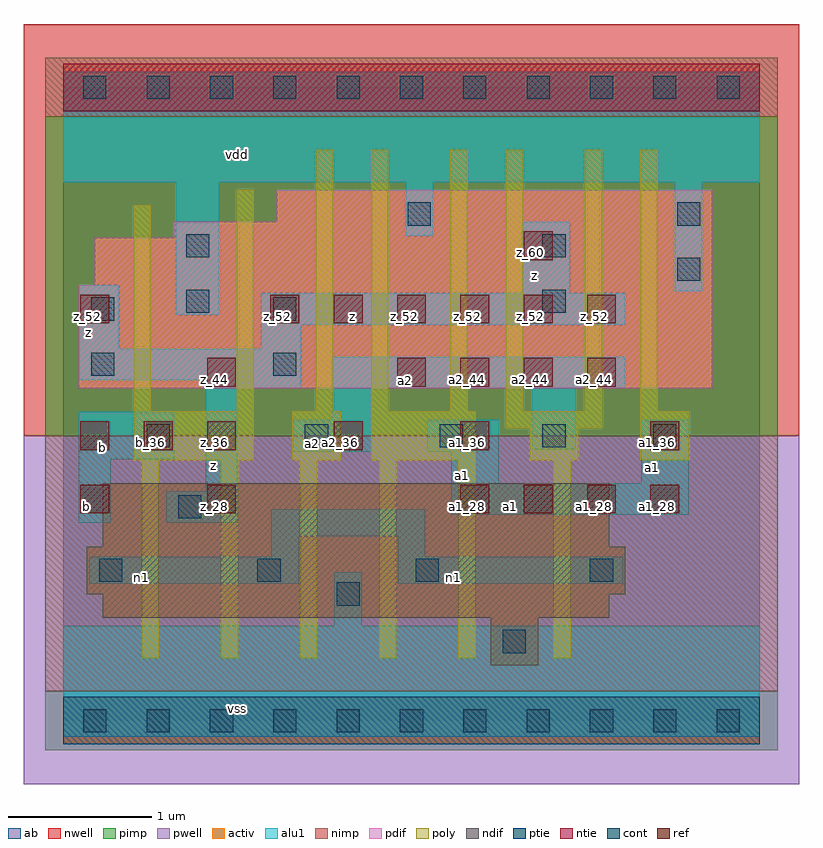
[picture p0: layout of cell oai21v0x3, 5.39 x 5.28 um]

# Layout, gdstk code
import gdstk
lib = gdstk.Library(unit=1e-6, precision=2.5e-09)
def R(c, l, rs):  # rectangles x0, y0, x1, y1
    for r in rs: c.add(gdstk.rectangle(r[:2], r[2:], *l))
def A(c, l, x, y, w, h, nx, ny, dx, dy):  # array of equal rectangles
    R(c, l, [(x+i*dx, y+j*dy, x+i*dx+w, y+j*dy+h) for i in range(nx) for j in range(ny)])
ndif = (3, 0)
pdif = (4, 0)
ntie = (5, 0)
ptie = (6, 0)
ref = (24, 0)
cont = (25, 0)
pwell = (41, 0)
nwell = (42, 0)
activ = (43, 0)
pimp = (44, 0)
nimp = (45, 0)
poly = (46, 0)
alu1 = (49, 0)
ab = (63, 0)

oai21v0x3 = lib.new_cell('oai21v0x3')
R(oai21v0x3, ndif, [(2.97,0.385,3.3,0.715), (0.275,0.715,3.795,0.88), (0.165,0.88,3.905,1.21), (0.275,1.21,3.795,1.65)])
R(oai21v0x3, pdif, [(0.11,2.31,4.51,3.025), (0.22,3.025,4.51,3.355), (0.77,3.355,4.51,3.465), (1.485,3.465,4.51,3.685)])
R(oai21v0x3, ntie, [(0,4.235,4.84,4.565)])
R(oai21v0x3, ptie, [(0,-0.165,4.84,0.165)])
A(oai21v0x3, ref, 2.76, 1.44, 0.2, 0.2, 4, 1, 0.44, 0)
A(oai21v0x3, ref, 0.12, 1.88, 0.2, 0.2, 3, 1, 0.44, 0)
A(oai21v0x3, ref, 2.32, 2.32, 0.2, 0.2, 4, 1, 0.44, 0)
A(oai21v0x3, ref, 1.44, 2.76, 0.2, 0.2, 6, 1, 0.44, 0)
R(oai21v0x3, ref, [(0.12,1.44,0.32,1.64), (1,1.44,1.2,1.64), (1.88,1.88,2.08,2.08), (2.76,1.88,2.96,2.08), (4.08,1.88,4.28,2.08), (1,2.32,1.2,2.52), (0.12,2.76,0.32,2.96), (3.2,3.2,3.4,3.4)])
A(oai21v0x3, cont, 0.14, -0.08, 0.16, 0.16, 11, 2, 0.44, 4.4)
A(oai21v0x3, cont, 0.25, 0.965, 0.16, 0.16, 3, 1, 1.1, 0)
R(oai21v0x3, cont, [(3.055,0.47,3.215,0.63), (1.9,0.8,2.06,0.96), (3.66,0.965,3.82,1.125), (0.8,1.405,0.96,1.565), (0.58,1.9,0.74,2.06), (1.68,1.9,1.84,2.06), (2.615,1.9,2.775,2.06), (3.33,1.9,3.49,2.06), (4.1,1.9,4.26,2.06), (0.195,2.395,0.355,2.555), (1.46,2.395,1.62,2.555), (0.195,2.78,0.355,2.94), (1.46,2.78,1.62,2.94), (0.855,2.835,1.015,2.995), (3.33,2.835,3.49,2.995), (4.265,3.055,4.425,3.215), (0.855,3.22,1.015,3.38), (3.33,3.22,3.49,3.38), (2.395,3.44,2.555,3.6), (4.265,3.44,4.425,3.6)])
R(oai21v0x3, pwell, [(-0.275,-0.44,5.115,1.98)])
R(oai21v0x3, nwell, [(-0.275,1.98,5.115,4.84)])
R(oai21v0x3, activ, [(0,-0.165,4.84,0.165), (2.97,0.385,3.3,0.715), (0.275,0.715,3.795,0.88), (0.165,0.88,3.905,1.21), (0.275,1.21,3.795,1.65), (0.11,2.31,4.51,3.025), (0.22,3.025,4.51,3.355), (0.77,3.355,4.51,3.465), (1.485,3.465,4.51,3.685), (0,4.235,4.84,4.565)])
R(oai21v0x3, pimp, [(-0.125,-0.205,4.965,0.205), (-0.125,1.98,4.965,4.195)])
R(oai21v0x3, nimp, [(-0.125,0.205,4.965,1.98), (-0.125,4.195,4.965,4.605)])
A(oai21v0x3, poly, 0.545, 0.435, 0.12, 1.375, 5, 1, 0.55, 0)
R(oai21v0x3, poly, [(3.405,0.435,3.525,1.81), (0.49,1.81,1.325,2.15), (1.59,1.81,1.93,2.15), (2.14,1.81,2.865,2.15), (3.24,1.81,3.58,2.03), (4.01,1.81,4.35,2.15), (3.075,2.03,3.745,2.15), (0.49,2.15,0.61,3.58), (1.205,2.15,1.325,3.69), (1.755,2.15,1.875,3.965), (2.14,2.15,2.26,3.965), (2.69,2.15,2.81,3.965), (3.075,2.15,3.195,3.965), (3.625,2.15,3.745,3.965), (4.01,2.15,4.13,3.965)])
R(oai21v0x3, alu1, [(0,-0.11,4.84,0.66), (1.885,0.66,2.075,1.03), (0.18,0.95,1.635,1.14), (2.325,0.95,3.89,1.14), (1.445,1.14,1.635,1.28), (2.325,1.14,2.515,1.28), (1.445,1.28,2.515,1.47), (0.11,1.375,0.33,1.815), (0.715,1.375,1.21,1.595), (2.695,1.43,4.345,1.65), (0.99,1.595,1.21,2.31), (2.695,1.65,3.025,1.87), (4.015,1.65,4.345,2.09), (0.11,1.815,0.77,2.145), (1.595,1.87,2.145,2.09), (2.53,1.87,3.025,2.09), (3.26,1.885,3.56,2.31), (1.87,2.09,2.145,2.31), (0.99,2.31,1.65,2.365), (1.87,2.31,3.905,2.53), (0.11,2.365,1.65,2.585), (0.11,2.585,0.385,3.025), (1.375,2.585,1.65,2.75), (1.375,2.75,3.905,2.97), (0.785,2.82,1.085,3.74), (3.19,2.97,3.52,3.465), (4.25,2.985,4.44,3.74), (2.38,3.37,2.57,3.74), (0,3.74,4.84,4.51)])
R(oai21v0x3, ab, [(0,0,4.84,4.4)])
oai21v0x3.add(gdstk.Label('vss', (1.21,0.0825), layer=49, texttype=0))
oai21v0x3.add(gdstk.Label('n1', (2.715,0.9975), layer=49, texttype=0))
oai21v0x3.add(gdstk.Label('n1', (0.5425,0.9975), layer=49, texttype=0))
oai21v0x3.add(gdstk.Label('a1', (3.1075,1.485), layer=49, texttype=0))
oai21v0x3.add(gdstk.Label('a1', (4.0975,1.76), layer=49, texttype=0))
oai21v0x3.add(gdstk.Label('a1', (2.7775,1.705), layer=49, texttype=0))
oai21v0x3.add(gdstk.Label('a2', (1.7325,1.925), layer=49, texttype=0))
oai21v0x3.add(gdstk.Label('z', (1.045,1.7725), layer=49, texttype=0))
oai21v0x3.add(gdstk.Label('b', (0.165,1.485), layer=49, texttype=0))
oai21v0x3.add(gdstk.Label('b', (0.275,1.8975), layer=49, texttype=0))
oai21v0x3.add(gdstk.Label('a2', (2.3775,2.365), layer=49, texttype=0))
oai21v0x3.add(gdstk.Label('z', (2.0075,2.805), layer=49, texttype=0))
oai21v0x3.add(gdstk.Label('z', (3.2725,3.0925), layer=49, texttype=0))
oai21v0x3.add(gdstk.Label('z', (0.1775,2.695), layer=49, texttype=0))
oai21v0x3.add(gdstk.Label('vdd', (1.21,3.9325), layer=49, texttype=0))
oai21v0x3.add(gdstk.Label('b_36', (0.61,1.93), layer=24, texttype=0))
oai21v0x3.add(gdstk.Label('z_28', (1.05,1.49), layer=24, texttype=0))
oai21v0x3.add(gdstk.Label('z_36', (1.05,1.93), layer=24, texttype=0))
oai21v0x3.add(gdstk.Label('z_44', (1.05,2.37), layer=24, texttype=0))
oai21v0x3.add(gdstk.Label('z_52', (1.49,2.81), layer=24, texttype=0))
oai21v0x3.add(gdstk.Label('a2_36', (1.93,1.93), layer=24, texttype=0))
oai21v0x3.add(gdstk.Label('z_52', (1.93,2.81), layer=24, texttype=0))
oai21v0x3.add(gdstk.Label('b_28', (0.17,1.49), layer=24, texttype=0))
oai21v0x3.add(gdstk.Label('b_36', (0.17,1.93), layer=24, texttype=0))
oai21v0x3.add(gdstk.Label('z_52', (0.17,2.81), layer=24, texttype=0))
oai21v0x3.add(gdstk.Label('a2_44', (2.37,2.37), layer=24, texttype=0))
oai21v0x3.add(gdstk.Label('z_52', (2.37,2.81), layer=24, texttype=0))
oai21v0x3.add(gdstk.Label('a1_28', (2.81,1.49), layer=24, texttype=0))
oai21v0x3.add(gdstk.Label('a1_36', (2.81,1.93), layer=24, texttype=0))
oai21v0x3.add(gdstk.Label('a2_44', (2.81,2.37), layer=24, texttype=0))
oai21v0x3.add(gdstk.Label('z_52', (2.81,2.81), layer=24, texttype=0))
oai21v0x3.add(gdstk.Label('a1_28', (3.25,1.49), layer=24, texttype=0))
oai21v0x3.add(gdstk.Label('a2_44', (3.25,2.37), layer=24, texttype=0))
oai21v0x3.add(gdstk.Label('z_52', (3.25,2.81), layer=24, texttype=0))
oai21v0x3.add(gdstk.Label('z_60', (3.25,3.25), layer=24, texttype=0))
oai21v0x3.add(gdstk.Label('a1_28', (3.69,1.49), layer=24, texttype=0))
oai21v0x3.add(gdstk.Label('a2_44', (3.69,2.37), layer=24, texttype=0))
oai21v0x3.add(gdstk.Label('z_52', (3.69,2.81), layer=24, texttype=0))
oai21v0x3.add(gdstk.Label('a1_28', (4.13,1.49), layer=24, texttype=0))
oai21v0x3.add(gdstk.Label('a1_36', (4.13,1.93), layer=24, texttype=0))

lib.write_gds('oai21v0x3.gds')
